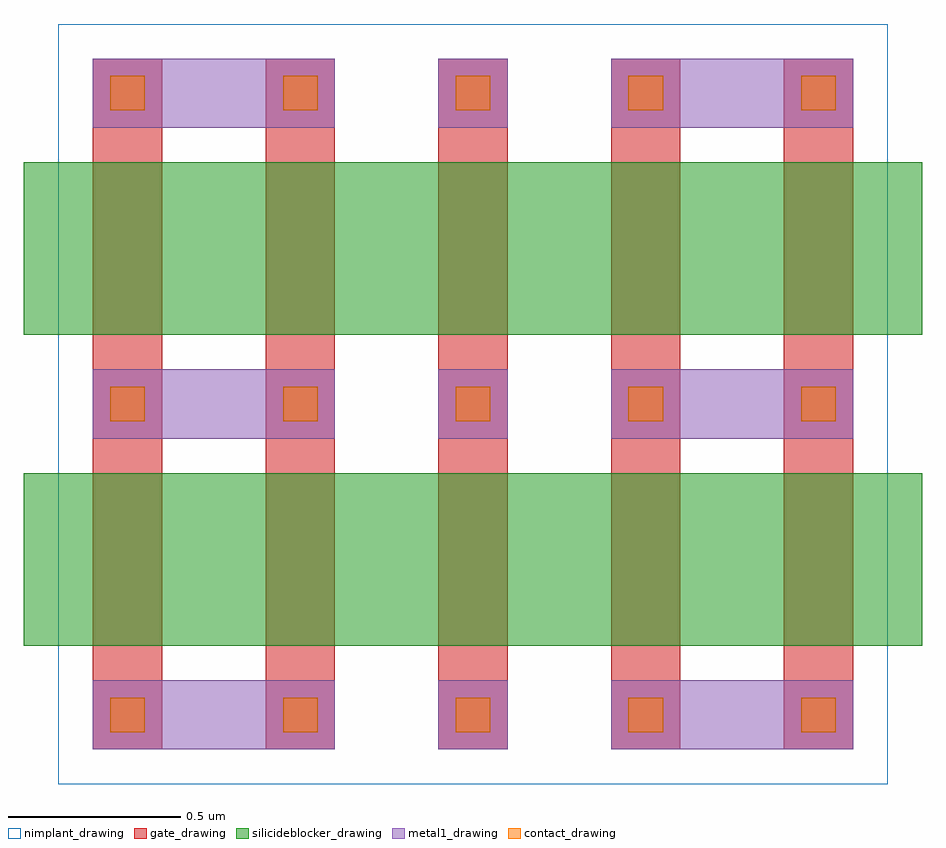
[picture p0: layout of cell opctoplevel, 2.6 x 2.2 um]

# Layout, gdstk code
import gdstk
lib = gdstk.Library(unit=1e-6, precision=1e-09)
def R(c, l, rs):  # rectangles x0, y0, x1, y1
    for r in rs: c.add(gdstk.rectangle(r[:2], r[2:], *l))
def A(c, l, x, y, w, h, nx, ny, dx, dy):  # array of equal rectangles
    R(c, l, [(x+i*dx, y+j*dy, x+i*dx+w, y+j*dy+h) for i in range(nx) for j in range(ny)])
nimplant_drawing = (5, 0)
gate_drawing = (6, 0)
contact_drawing = (7, 0)
metal1_drawing = (8, 0)
silicideblocker_drawing = (28, 0)

opctoplevel = lib.new_cell('opctoplevel')
R(opctoplevel, nimplant_drawing, [(-0.1,-0.1,2.3,2.1)])
A(opctoplevel, gate_drawing, 0, 0, 0.2, 2, 5, 1, 0.5, 0)
A(opctoplevel, gate_drawing, 0, 0, 0.2, 0.2, 5, 2, 0.5, 1.8)
A(opctoplevel, gate_drawing, 0, 0.9, 0.2, 0.2, 3, 1, 0.5, 0)
A(opctoplevel, gate_drawing, 1, 0.9, 0.2, 0.2, 3, 1, 0.5, 0)
A(opctoplevel, contact_drawing, 0.05, 0.05, 0.1, 0.1, 5, 2, 0.5, 1.8)
A(opctoplevel, contact_drawing, 0.05, 0.95, 0.1, 0.1, 3, 1, 0.5, 0)
A(opctoplevel, contact_drawing, 1.05, 0.95, 0.1, 0.1, 3, 1, 0.5, 0)
A(opctoplevel, metal1_drawing, 0, 0, 0.2, 0.2, 3, 3, 0.5, 0.9)
A(opctoplevel, metal1_drawing, 0, 0, 0.7, 0.2, 1, 3, 0, 0.9)
A(opctoplevel, metal1_drawing, 1, 0, 0.2, 0.2, 3, 3, 0.5, 0.9)
A(opctoplevel, metal1_drawing, 1.5, 0, 0.7, 0.2, 1, 3, 0, 0.9)
R(opctoplevel, metal1_drawing, [(1,0.9,1.2,1.1), (1,0.9,1.2,1.1)])
R(opctoplevel, silicideblocker_drawing, [(-0.2,0.3,2.4,0.8), (-0.2,1.2,2.4,1.7)])

lib.write_gds('opctoplevel.gds')
